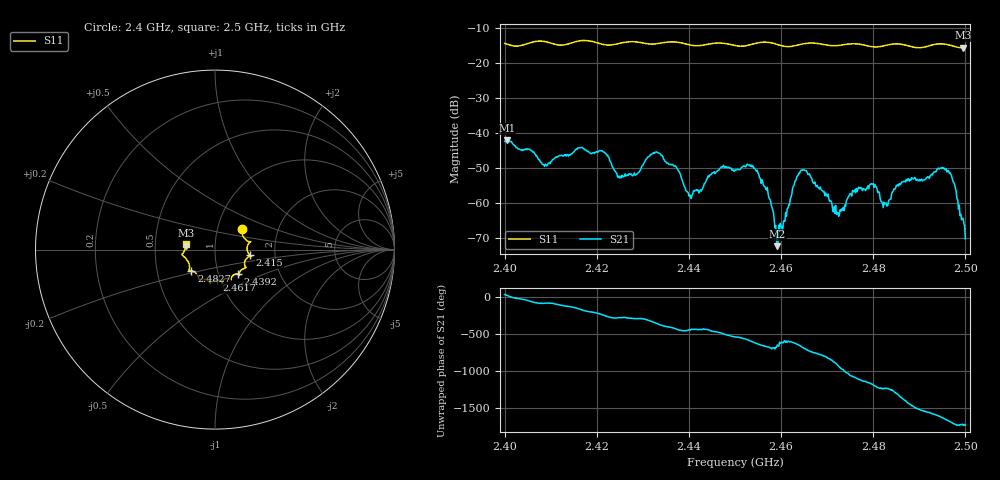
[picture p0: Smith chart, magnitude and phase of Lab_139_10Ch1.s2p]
# Hz S RI R 50
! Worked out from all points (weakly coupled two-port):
!   601 points, 2.4 GHz to 2.5 GHz, reference 50 ohm
!   highest |S21| = -42.08 dB at 2.4005 GHz (marker M1); lowest = -72.3 dB at 2.4592 GHz (marker M2)
!   lowest |S11| = -15.7 dB at 2.4995 GHz (marker M3), VSWR 1.39, Z = 36 + j1.67 ohm
!   |S11| at or under -10 dB: start of sweep to end of sweep
!   S12 and S22 are empty: the file has one direction only
!   S11 on the Smith chart (normalised r, x): 2.4 GHz: 1.31, +0.31; 2.415 GHz: 1.48, -0.10; 2.4392 GHz: 1.24, -0.35; 2.4617 GHz: 0.96, -0.34; 2.4827 GHz: 0.75, -0.18; 2.5 GHz: 0.72, +0.05
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2.4e9  0.1503 0.115  0.00664 0.00367  0 0  0 0
2.4005e9  0.1496 0.1082  0.0075 0.00239  0 0  0 0
2.408667e9  0.1965 0.0425  7.79e-05 -0.00335  0 0  0 0
2.415e9  0.1937 -0.0314  -0.00438 -0.00311  0 0  0 0
2.416667e9  0.2039 -0.0384  -0.00623 -0.000416  0 0  0 0
2.425167e9  0.1671 -0.0921  0.000568 0.00236  0 0  0 0
2.433333e9  0.1359 -0.1304  0.00517 -0.000843  0 0  0 0
2.439167e9  0.1279 -0.1357  -0.000266 -0.00163  0 0  0 0
2.45e9  0.0714 -0.1614  -0.00297 0.000139  0 0  0 0
2.454667e9  0.0397 -0.1863  0.000118 0.00284  0 0  0 0
2.459167e9  0.0372 -0.1787  9.16e-05 0.000226  0 0  0 0
2.461667e9  0.00842 -0.1699  -0.000395 0.000858  0 0  0 0
2.464e9  -0.0197 -0.1805  0.00111 0.0024  0 0  0 0
2.466667e9  -0.0268 -0.1897  0.00199 -0.00105  0 0  0 0
2.472167e9  -0.0616 -0.1647  -0.000687 0.000211  0 0  0 0
2.479667e9  -0.1019 -0.1361  -0.000239 -0.00187  0 0  0 0
2.482667e9  -0.1319 -0.1178  -0.00089 -0.000442  0 0  0 0
2.483333e9  -0.1376 -0.1173  -0.00102 -0.000346  0 0  0 0
2.495333e9  -0.1836 -0.0259  -0.00291 0.00127  0 0  0 0
2.497167e9  -0.1741 -0.0132  -0.000244 0.00221  0 0  0 0
2.4995e9  -0.162 0.0226  0.000225 0.000561  0 0  0 0
2.5e9  -0.1618 0.0316  0.000125 0.000283  0 0  0 0
